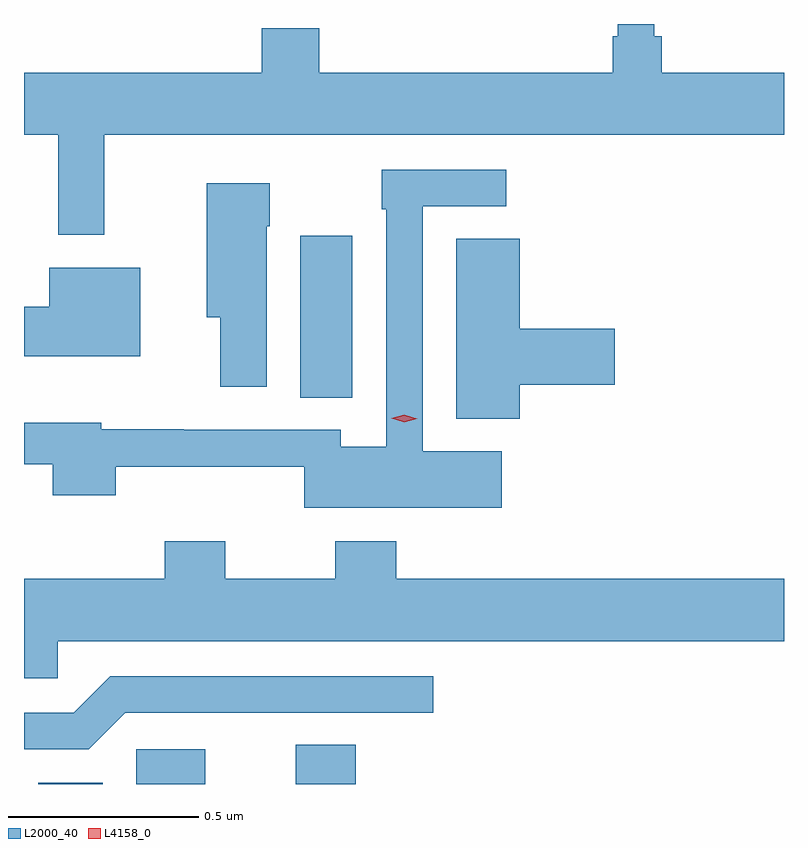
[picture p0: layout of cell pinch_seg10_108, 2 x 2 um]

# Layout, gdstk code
import gdstk
lib = gdstk.Library(unit=1e-6, precision=1e-09)
def R(c, l, rs):  # rectangles x0, y0, x1, y1
    for r in rs: c.add(gdstk.rectangle(r[:2], r[2:], *l))
def P(c, l, *ps):  # polygons
    for p in ps: c.add(gdstk.Polygon(p, *l))
L2000_40 = (2000, 40)
L4158_0 = (4158, 0)

pinch_seg10_108 = lib.new_cell('pinch_seg10_108')
R(pinch_seg10_108, L2000_40, [(681.92,1295.944,682.09,1295.947), (682.178,1295.944,682.36,1296.036), (682.598,1295.944,682.756,1296.047), (682.61,1296.961,682.747,1297.387)])
P(pinch_seg10_108, L2000_40, [(682.094,1297.652),(683.883,1297.652),(683.883,1297.816),(683.561,1297.816),(683.561,1297.912),(683.542,1297.912),(683.542,1297.944),(683.445,1297.944),(683.445,1297.912),(683.432,1297.912),(683.432,1297.816),(682.66,1297.816),(682.66,1297.933),(682.508,1297.933),(682.508,1297.816),(681.883,1297.816),(681.883,1297.652),(681.973,1297.652),(681.973,1297.389),(682.094,1297.389)],
  [(683.14,1296.82),(682.932,1296.82),(682.932,1297.464),(683.152,1297.464),(683.152,1297.56),(682.824,1297.56),(682.824,1297.457),(682.836,1297.457),(682.836,1296.832),(682.716,1296.832),(682.716,1296.876),(682.304,1296.876),(682.304,1296.878),(682.086,1296.878),(682.086,1296.895),(681.883,1296.895),(681.883,1296.786),(681.959,1296.786),(681.959,1296.704),(682.124,1296.704),(682.124,1296.779),(682.62,1296.779),(682.62,1296.671),(683.14,1296.671)],
  [(682.522,1297.412),(682.53,1297.412),(682.53,1297.525),(682.364,1297.525),(682.364,1297.172),(682.4,1297.172),(682.4,1296.99),(682.522,1296.99)],
  [(683.188,1296.995),(683.437,1296.995),(683.437,1297.142),(683.188,1297.142),(683.188,1297.379),(683.021,1297.379),(683.021,1296.905),(683.188,1296.905)],
  [(682.189,1297.303),(681.95,1297.303),(681.95,1297.2),(681.883,1297.2),(681.883,1297.07),(682.189,1297.07)],
  [(681.883,1296.222),(681.972,1296.222),(681.972,1296.32),(683.883,1296.32),(683.883,1296.484),(682.862,1296.484),(682.862,1296.583),(682.702,1296.583),(682.702,1296.484),(682.413,1296.484),(682.413,1296.583),(682.253,1296.583),(682.253,1296.484),(681.883,1296.484)],
  [(682.149,1296.132),(682.96,1296.132),(682.96,1296.228),(682.11,1296.228),(682.014,1296.132),(681.883,1296.132),(681.883,1296.036),(682.053,1296.036)])
P(pinch_seg10_108, L4158_0, [(682.883,1296.896),(682.849,1296.907),(682.849,1296.907),(682.849,1296.907),(682.884,1296.916),(682.918,1296.905),(682.918,1296.905),(682.918,1296.905)])

lib.write_gds('pinch_seg10_108.gds')
